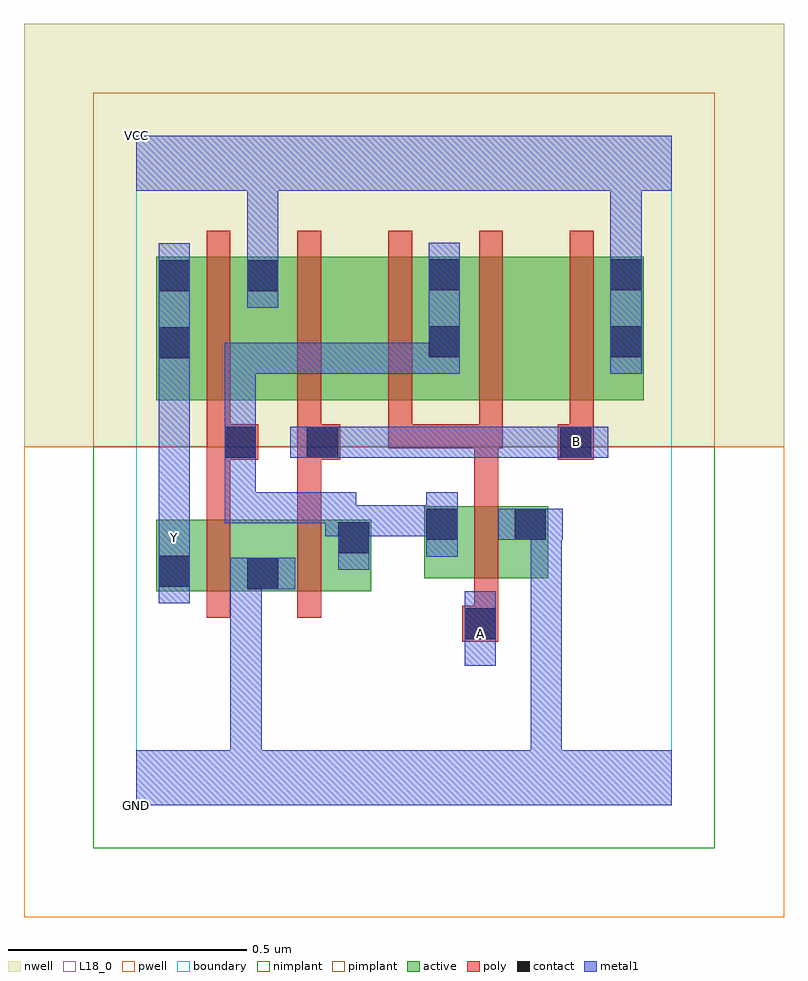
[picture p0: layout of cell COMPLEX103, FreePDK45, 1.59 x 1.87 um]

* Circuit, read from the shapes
.subckt COMPLEX103 A B GND VCC Y
M1 GND n1 Y VSUBS nfet w=0.15u l=0.05u
M2 n1 B GND VSUBS nfet w=0.15u l=0.05u
M3 GND A n1 VSUBS nfet w=0.15u l=0.05u
M4 VCC n1 Y n2 pfet w=0.3u l=0.05u
M5 n3 B VCC n2 pfet w=0.3u l=0.05u
M6 n1 A n3 n2 pfet w=0.3u l=0.05u
M7 n4 A n1 n2 pfet w=0.3u l=0.05u
M8 VCC B n4 n2 pfet w=0.3u l=0.05u
.ends

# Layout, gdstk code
import gdstk
lib = gdstk.Library(unit=1e-6, precision=1e-09)
def R(c, l, rs):  # rectangles x0, y0, x1, y1
    for r in rs: c.add(gdstk.rectangle(r[:2], r[2:], *l))
def A(c, l, x, y, w, h, nx, ny, dx, dy):  # array of equal rectangles
    R(c, l, [(x+i*dx, y+j*dy, x+i*dx+w, y+j*dy+h) for i in range(nx) for j in range(ny)])
active = (1, 0)
pwell = (2, 0)
nwell = (3, 0)
nimplant = (4, 0)
pimplant = (5, 0)
poly = (9, 0)
contact = (10, 0)
metal1 = (11, 0)
L18_0 = (18, 0)
boundary = (235, 0)

complex103 = lib.new_cell('COMPLEX103')
R(complex103, active, [(0.042,0.447,0.302,0.597), (0.042,0.447,0.117,0.597), (0.227,0.447,0.302,0.522), (0.227,0.447,0.492,0.597), (0.602,0.475,0.862,0.625), (0.417,0.522,0.492,0.597), (0.602,0.545,0.677,0.625), (0.787,0.545,0.862,0.625), (0.042,0.847,0.117,1.147), (0.042,0.847,0.302,1.147), (0.227,0.847,0.457,1.147), (0.457,0.847,0.682,1.147), (0.607,0.847,0.682,1.147), (0.607,0.847,0.837,1.147), (0.837,0.847,1.062,1.147), (0.987,0.847,1.062,1.147), (0.227,1.007,0.302,1.145)])
R(complex103, pwell, [(-0.235,-0.235,1.355,0.75)])
R(complex103, nwell, [(-0.235,0.75,1.355,1.635)])
R(complex103, nimplant, [(-0.09,-0.09,1.21,0.75)])
R(complex103, pimplant, [(-0.09,0.75,1.21,1.49)])
A(complex103, poly, 0.147, 0.747, 0.05, 0.095, 5, 1, 0.19, 0)
A(complex103, poly, 0.147, 0.792, 0.05, 0.41, 5, 1, 0.19, 0)
R(complex103, poly, [(0.682,0.342,0.757,0.417), (0.707,0.367,0.757,0.47), (0.147,0.392,0.197,0.652), (0.337,0.392,0.387,0.652), (0.707,0.42,0.757,0.68), (0.147,0.602,0.197,0.772), (0.337,0.602,0.387,0.772), (0.707,0.63,0.757,0.797), (0.147,0.722,0.255,0.797), (0.337,0.722,0.427,0.797), (0.882,0.722,0.957,0.797), (0.527,0.747,0.757,0.797), (0.527,0.747,0.577,0.797), (0.527,0.747,0.577,0.797), (0.527,0.747,0.577,0.797), (0.707,0.747,0.767,0.797)])
R(complex103, contact, [(0.687,0.347,0.752,0.412), (0.232,0.452,0.297,0.517), (0.047,0.457,0.112,0.522), (0.422,0.527,0.487,0.592), (0.607,0.555,0.672,0.62), (0.792,0.555,0.857,0.62), (0.185,0.727,0.25,0.792), (0.357,0.727,0.422,0.792), (0.887,0.727,0.952,0.792), (0.047,0.935,0.112,1), (0.612,0.937,0.677,1.002), (0.992,0.937,1.057,1.002), (0.047,1.075,0.112,1.14), (0.232,1.075,0.297,1.14), (0.612,1.077,0.677,1.142), (0.992,1.077,1.057,1.142)])
R(complex103, metal1, [(0,0,1.12,0.115), (0.197,0.05,0.262,0.115), (0.197,0.05,0.262,0.115), (0.197,0.05,0.262,0.115), (0.197,0.05,0.262,0.115), (0.197,0.05,0.262,0.115), (0.197,0.05,0.262,0.115), (0.197,0.05,0.262,0.517), (0.825,0.05,0.89,0.115), (0.825,0.05,0.89,0.115), (0.825,0.05,0.89,0.115), (0.825,0.05,0.89,0.115), (0.825,0.05,0.89,0.62), (0.687,0.292,0.752,0.447), (0.047,0.422,0.112,0.557), (0.197,0.452,0.332,0.517), (0.047,0.492,0.112,0.557), (0.047,0.492,0.112,0.627), (0.422,0.492,0.487,0.627), (0.607,0.52,0.672,0.655), (0.757,0.555,0.892,0.62), (0.825,0.555,0.89,0.62), (0.825,0.555,0.89,0.62), (0.047,0.562,0.112,0.965), (0.395,0.562,0.487,0.627), (0.395,0.562,0.46,0.655), (0.422,0.562,0.597,0.627), (0.532,0.562,0.597,0.627), (0.532,0.562,0.672,0.627), (0.185,0.59,0.25,0.655), (0.185,0.59,0.46,0.655), (0.185,0.59,0.25,0.827), (0.185,0.692,0.25,0.827), (0.322,0.727,0.457,0.792), (0.392,0.727,0.457,0.792), (0.392,0.727,0.457,0.792), (0.392,0.727,0.597,0.792), (0.532,0.727,0.597,0.792), (0.532,0.727,0.625,0.792), (0.56,0.727,0.625,0.792), (0.56,0.727,0.735,0.792), (0.67,0.727,0.735,0.792), (0.67,0.727,0.917,0.792), (0.852,0.727,0.917,0.792), (0.852,0.727,0.917,0.792), (0.852,0.727,0.987,0.792), (0.185,0.762,0.25,0.827), (0.185,0.762,0.25,0.827), (0.185,0.762,0.25,0.967), (0.047,0.9,0.112,1.175), (0.185,0.902,0.25,0.967), (0.185,0.902,0.46,0.967), (0.395,0.902,0.46,0.967), (0.395,0.902,0.46,0.967), (0.395,0.902,0.46,0.967), (0.395,0.902,0.597,0.967), (0.532,0.902,0.597,0.967), (0.532,0.902,0.677,0.967), (0.612,0.902,0.677,1.177), (0.992,0.902,1.057,1.177), (0.232,1.04,0.297,1.175), (0.232,1.11,0.297,1.175), (0.232,1.11,0.297,1.175), (0.232,1.11,0.297,1.35), (0.992,1.112,1.057,1.35), (0,1.285,1.12,1.4), (0.992,1.285,1.057,1.35), (0.992,1.285,1.057,1.35)])
R(complex103, L18_0, [(0,0,1.12,0.115), (0.197,0.05,0.262,0.115), (0.197,0.05,0.262,0.115), (0.197,0.05,0.262,0.115), (0.197,0.05,0.262,0.115), (0.197,0.05,0.262,0.115), (0.197,0.05,0.262,0.115), (0.197,0.05,0.262,0.517), (0.825,0.05,0.89,0.115), (0.825,0.05,0.89,0.115), (0.825,0.05,0.89,0.115), (0.825,0.05,0.89,0.115), (0.825,0.05,0.89,0.62), (0.687,0.292,0.752,0.447), (0.687,0.327,0.752,0.392), (0.047,0.422,0.112,0.557), (0.197,0.452,0.332,0.517), (0.047,0.492,0.112,0.627), (0.047,0.492,0.112,0.557), (0.047,0.527,0.112,0.592), (0.757,0.555,0.892,0.62), (0.825,0.555,0.89,0.62), (0.825,0.555,0.89,0.62), (0.047,0.562,0.112,0.965), (0.322,0.727,0.457,0.792), (0.392,0.727,0.457,0.792), (0.392,0.727,0.457,0.792), (0.392,0.727,0.597,0.792), (0.532,0.727,0.597,0.792), (0.532,0.727,0.625,0.792), (0.56,0.727,0.625,0.792), (0.56,0.727,0.735,0.792), (0.67,0.727,0.735,0.792), (0.67,0.727,0.917,0.792), (0.852,0.727,0.917,0.792), (0.852,0.727,0.917,0.792), (0.852,0.727,0.987,0.792), (0.887,0.727,0.952,0.792), (0.047,0.9,0.112,1.175), (0.992,0.902,1.057,1.177), (0.232,1.04,0.297,1.175), (0.232,1.11,0.297,1.175), (0.232,1.11,0.297,1.175), (0.232,1.11,0.297,1.35), (0.992,1.112,1.057,1.35), (0,1.285,1.12,1.4), (0.992,1.285,1.057,1.35), (0.992,1.285,1.057,1.35)])
R(complex103, boundary, [(0,0,1.12,1.4)])
complex103.add(gdstk.Label('A', (0.72,0.36), layer=11, texttype=0))
complex103.add(gdstk.Label('B', (0.92,0.76), layer=11, texttype=0))
complex103.add(gdstk.Label('Y', (0.08,0.56), layer=11, texttype=0))
complex103.add(gdstk.Label('VCC', (0,1.4), layer=11, texttype=0))
complex103.add(gdstk.Label('GND', (0,0), layer=11, texttype=0))

lib.write_gds('COMPLEX103.gds')
